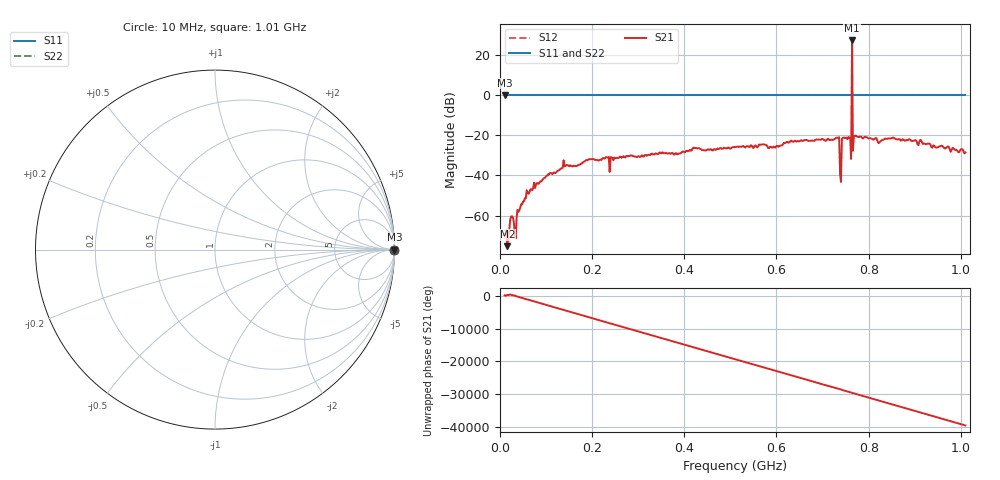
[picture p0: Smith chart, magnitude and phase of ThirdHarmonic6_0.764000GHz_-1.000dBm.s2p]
! 8/16/2025 1:32:22 AM
! C:\ANRITSUVNA\TEMP\TEMP.S2P
! CHANNEL.1
! TR.MEASUREMENT
! RAW.DATA
! RF.CORRECTION.OFF
! AVERAGING.OFF
! IF.BANDWIDTH: 5KHZ
! SWEEPTYPE:  FREQ.SWEEP(Linear)
! Reference Plane Port Info
! PORT:  PORT1  PORT2
! DISTANCE:  0  m  0  m
! TIME:  0  s  0  s
! PHASE.OFFSET:  0  deg.  0  deg.
! LOSS:  0  dB  0  dB
! REF.LOSS:  0  dB  0  dB
! REF.FREQ:  0  Hz  0  Hz
! Power Info
! POWER:  -20  dBm  -20  dBm
! EFF.POWER:  -20  dBm  -20  dBm
! SOURCE.ATTEN:  0  dB  0  dB
! TEST.ATTEN:  0  dB  0  dB
# GHZ S RI R 50.0
! FREQ.GHZ  S11RE  S11IM  S21RE  S21IM  S12RE  S12IM  S22RE  S22IM
!; PortSelection: Port_12
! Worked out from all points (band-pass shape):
!   501 points, 10 MHz to 1.01 GHz, reference 50 ohm
!   highest |S21| = 27.09 dB at 764 MHz (marker M1); lowest = -75.2 dB at 16 MHz (marker M2)
!   |S21| within 3 dB of the highest: 763.8981 MHz to 764.1093 MHz (211.2 kHz wide, 0.0276 % of centre)
!   lowest |S11| = 0.0 dB at 10 MHz (marker M3)
!   |S11| at or under -10 dB: nowhere
!   |S22| runs from 0.0 to 0.0 dB; largest |S21 - S12| = 22
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0.01  1 0  -0.000238 0.00025  1 0  1 0
0.016  1 0  8.2e-06 -0.000173  1 0  1 0
0.024  1 0  0.000611 -0.000724  1 0  1 0
0.032  1 0  4.44e-05 0.000354  1 0  1 0
0.042  1 0  0.00108 -0.000805  1 0  1 0
0.07  1 0  -0.00149 -0.00401  1 0  1 0
0.142  1 0  -0.0162 -0.00541  1 0  1 0
0.178  1 0  -0.0197 -0.00265  1 0  1 0
0.344  1 0  0.0314 -0.0141  1 0  1 0
0.51  1 0  -0.037 0.0349  1 0  1 0
0.678  1 0  -0.0637 -0.0352  1 0  1 0
0.732  1 0  -0.0853 -0.00865  1 0  1 0
0.736  1 0  0.0814 0.0353  1 0  1 0
0.742  1 0  -0.0556 0.0586  1 0  1 0
0.746  1 0  0.0805 -0.0344  1 0  1 0
0.758  1 0  -0.0728 -0.0486  1 0  1 0
0.76  1 0  -0.0601 0.0614  1 0  1 0
0.764  1 0  22.21 -4.338  1 0  1 0
0.768  1 0  -0.0899 0.0231  1 0  1 0
0.77  1 0  0.00606 0.095  1 0  1 0
0.844  1 0  0.0741 -0.0371  1 0  1 0
1.01  1 0  -0.0135 0.0345  1 0  1 0
